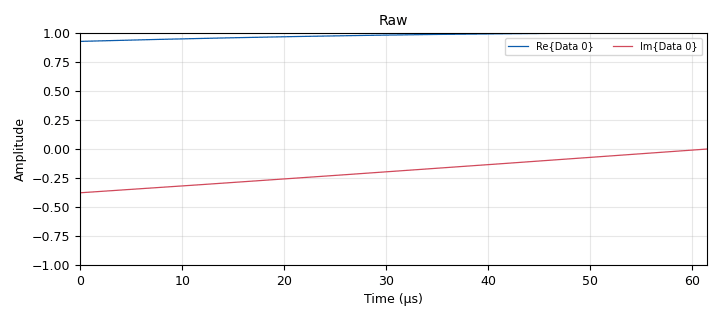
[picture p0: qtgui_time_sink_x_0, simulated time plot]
options:
  parameters:
    generate_options: qt_gui
    id: Itrigger2_virtual
    output_language: python
    title: Trigger Virtual
  states: {}

blocks:
- name: fftsz
  id: variable
  parameters:
    value: '1024'
  states: {}
- name: freq
  id: variable_qtgui_range
  parameters:
    label: Frequency
    start: '0'
    step: '100'
    stop: samp_rate/2
    value: 1e3
  states: {}
- name: movavg_length
  id: variable_qtgui_range
  parameters:
    label: Moving Average Length
    start: '1000'
    step: '1'
    stop: '16383'
    value: '10000'
  states: {}
- name: samp_rate
  id: variable
  parameters:
    value: 200e6/12
  states: {}
- name: analog_sig_source_x_0
  id: analog_sig_source_x
  parameters:
    amp: '1'
    freq: freq
    offset: '0'
    phase: '0'
    samp_rate: samp_rate
    type: complex
    waveform: analog.GR_COS_WAVE
  states: {}
- name: blocks_complex_to_mag_squared_0_0
  id: blocks_complex_to_mag_squared
  parameters:
    vlen: fftsz
  states: {}
- name: blocks_multiply_const_xx_0
  id: blocks_multiply_const_xx
  parameters:
    const: 1/fftsz
    type: complex
    vlen: fftsz
  states: {}
- name: blocks_multiply_xx_0
  id: blocks_multiply_xx
  parameters:
    type: complex
  states: {}
- name: blocks_nlog10_ff_0_0
  id: blocks_nlog10_ff
  parameters:
    k: '0'
    n: '10'
    vlen: fftsz
  states: {}
- name: blocks_stream_to_vector_0
  id: blocks_stream_to_vector
  parameters:
    num_items: fftsz
    type: complex
  states: {}
- name: blocks_throttle_0
  id: blocks_throttle
  parameters:
    samples_per_second: samp_rate
    type: complex
  states: {}
- name: epy_block_0
  id: epy_block
  parameters:
    FFT_size: fftsz
    _source_code: |
      """
      Embedded Python Blocks:

      Each time this file is saved, GRC will instantiate the first class it finds
      to get ports and parameters of your block. The arguments to __init__  will
      be the parameters. All of them are required to have default values!
      """

      import numpy as np
      import math
      from gnuradio import gr
      import pmt


      class blk(gr.sync_block):  # other base classes are basic_block, decim_block, interp_block
          """Embedded Python Block example - a simple multiply const"""

          def __init__(self, FFT_size=1024, sample_rate=25E6, frequency_low=10.9e6,
                      frequency_high=11.1e6):  # only default arguments here
              """arguments to this function show up as parameters in GRC"""
              gr.sync_block.__init__(
                  self,
                  name='Selective FFT Vector Averager',   # will show up in GRC
                  in_sig=[(np.float32,FFT_size)],
                  out_sig=[np.float32]
              )
              # if an attribute with the same name as a parameter is found,
              # a callback is registered (properties work, too).
              self.FFT_size = FFT_size
              self.sample_rate = sample_rate
              self.frequency_low = frequency_low+sample_rate/2
              self.frequency_high = frequency_high+sample_rate/2
              
              # Calculate the bins we are interested in sampling
              self.bin_width = (self.sample_rate)/self.FFT_size
              self.bin_low = math.floor(self.frequency_low/self.bin_width)
              print("bin low: ", self.bin_low)
              self.bin_high = math.ceil(self.frequency_high/self.bin_width)
              print("bin high: ", self.bin_high)
              #print("tesT")
              
              #Message Handling
              self.portName = 'controlOut'
              self.message_port_register_out(pmt.intern(self.portName))
              

          def work(self, input_items, output_items):
              # Loop through all received vectors
              #print("Input fft: ", len(input_items[0]))
              for i in range(len(input_items[0])):
                  #print("bruh")
                  output_items[0][i] = input_items[0][i][self.bin_low:self.bin_high].max()
                  PMT_msg = pmt.from_double(output_items[0][i])
                  self.message_port_pub(pmt.intern(self.portName), PMT_msg)
         
              #print("Output fft: ", len(output_items[0]))
              #print("-----------------------")
              return len(output_items[0])
    frequency_high: 800e3
    frequency_low: 500e3
    sample_rate: samp_rate
  states: {}
- name: epy_block_1
  id: epy_block
  parameters:
    _source_code: |
      """
      Embedded Python Blocks:

      Each time this file is saved, GRC will instantiate the first class it finds
      to get ports and parameters of your block. The arguments to __init__  will
      be the parameters. All of them are required to have default values!
      """

      import numpy as np
      import pmt
      from gnuradio import gr


      class blk(gr.sync_block):  # other base classes are basic_block, decim_block, interp_block
          """Embedded Python Block example - a simple multiply const"""

          def __init__(self, slope=100e3, samp_rate=200e6/12):  # only default arguments here
              """arguments to this function show up as parameters in GRC"""
              gr.sync_block.__init__(
                  self,
                  name='Local Chirp',   # will show up in GRC
                  in_sig=[np.complex64],
                  out_sig=[np.complex64]
              )
              # if an attribute with the same name as a parameter is found,
              # a callback is registered (properties work, too).
              self.slope = slope
              self.fs = samp_rate
              self.sample_count = 0
              
              self.lastT = 0
              self.lastF = 0
              self.dt = 1/self.fs
              self.df = self.slope/self.fs
              
              self.controlPortName = 'controlIn'
              self.message_port_register_in(pmt.intern(self.controlPortName))
              self.set_msg_handler(pmt.intern(self.controlPortName), self.handle_msg)
              
          def handle_msg(self, msg):
              controlIn = pmt.to_double(msg)
              
              if controlIn > self.controlLast+self.trigger_Power:
                  self.control = True
              
              self.controlLast = controlIn
              
          def work(self, input_items, output_items):
              n = len(input_items[0]) 
          
              if self.control:
                  newT = self.dt*n + self.lastT
                  newF = self.df*n + self.lastF
                      
                  t = np.arange(self.lastT, newT+dt, dt)
                  f = np.arange(self.lastF, newF+df, df)
                  
                  for i in range(0, n):
                      output_items[0][i] = np.sin(2*np.pi*f[i]*t[i])
                  
                  self.lastT = newT
                  self.lastF = newF
              
              return len(output_items[0])
    samp_rate: 200e6/12
    slope: 100e3
  states: {}
- name: epy_block_1_0
  id: epy_block
  parameters:
    _source_code: |
      """ Ionosonde Trigger Block
          By Jaden Keener, 2/5/23
          
          Last updated 2/12/23 12:55
          - Added moving average functionality. Now we shouldn't have to manually set
            trigger threshold
          
          This block records the raw SDR output when a strong enough input is 
          provided. This block is meant to be used alongside a filter. The filter 
          should bandpass the trigger frequency, then go to an average power block
          which then feeds into this blocks first input.
          
          Outputs are purely debug.
          
          See __init__ for additional i/o information
      """

      import numpy as np
      import datetime
      from gnuradio import gr
      import pmt

      class blk(gr.sync_block):  

          def __init__(self, trigger_delta_dB=5, samp_rate = 32E3, capture_window = 5): 
              
              """ INPUTS/OUTPUTS:
                      input[0]: Raw Data from SDR
                      
                      output[0]: debug state information
                      output[1]: debug timer information
                      
                      msg[controlPort]: input from custom FFT filter
                  """
              gr.sync_block.__init__(
                  self,
                  name='Ionosonde Trigger 2.0', 
                  in_sig=[np.complex64],
                  out_sig=[np.float32, np.float32]
              )
              
              self.trigger_Power = trigger_delta_dB
              self.samp_rate = samp_rate
              self.capture_window = capture_window
              # timer max is calculated as sample rate * capture window in seconds.
              self.timerMax = self.timer = self.samp_rate * self.capture_window
              self.writing = False
              
              # Message Handling
              self.controlPortName = 'controlIn'
              self.message_port_register_in(pmt.intern(self.controlPortName))
              self.set_msg_handler(pmt.intern(self.controlPortName), self.handle_msg)
             
              self.control = False # default for control
              self.controlLast = 10e3
             
          def handle_msg(self, msg):
              controlIn = pmt.to_double(msg)
              
              if controlIn > self.controlLast+self.trigger_Power:
                  self.control = True
              
              self.controlLast = controlIn
             
             
          def work(self, input_items, output_items):
              
              # Check if we are writing
              if self.writing:
                  # If we are and we still have time on the clock
                  if self.timer < self.timerMax:
                      # Then write data to file
                      self.file.write(input_items[0][:])
                      self.timer += len(input_items[0])
                      output_items[0][:] = 2
                  else:
                      # Otherwise close the file and reset flags
                      self.file.close()
                      self.writing = False
                      self.control = False
                      output_items[0][:] = 0
              
              # If not writing, do we have high power on trigger?
              elif self.control:
                  # Set status variables
                  self.writing = True
                  self.timer = 0
                  output_items[0][:] = 1
                  
                  # Open new file and do first write
                  self.filename = '{date:%Y%m%d_%H%M%S}.chirp'.format(date=datetime.datetime.now())
                  self.file = open(self.filename, "ab")
                  self.file.write(input_items[0][:])
              # Show debug state of none
              else:
                  output_items[0][:] = 0
              
              # For debugging timer
              output_items[1][:] = self.timer
              
              # gnuradio needs this return
              return len(output_items[0])
    capture_window: '5'
    samp_rate: samp_rate
    trigger_delta_dB: '300'
  states: {}
- name: fft_vxx_0
  id: fft_vxx
  parameters:
    fft_size: fftsz
    forward: 'True'
    shift: 'True'
    type: complex
    window: window.blackmanharris(fftsz)
  states: {}
- name: freq_xlating_fft_filter_ccc_0
  id: freq_xlating_fft_filter_ccc
  parameters:
    center_freq: '0'
    decim: '1'
    samp_rate: samp_rate
  states: {}
- name: freq_xlating_fir_filter_xxx_0
  id: freq_xlating_fir_filter_xxx
  parameters:
    center_freq: '0'
    decim: '1'
    samp_rate: samp_rate
    type: ccc
  states: {}
- name: import_0
  id: import
  parameters:
    imports: import math
  states: {}
- name: qtgui_number_sink_1_0
  id: qtgui_number_sink
  parameters:
    graph_type: qtgui.NUM_GRAPH_HORIZ
    max: '3'
    name: '"TrigOut"'
    type: float
  states: {}
- name: qtgui_number_sink_1_0_0
  id: qtgui_number_sink
  parameters:
    autoscale: 'True'
    graph_type: qtgui.NUM_GRAPH_HORIZ
    max: '3'
    name: '"TFFTOut"'
    type: float
  states: {}
- name: qtgui_number_sink_1_1_0
  id: qtgui_number_sink
  parameters:
    graph_type: qtgui.NUM_GRAPH_HORIZ
    max: 200E3
    min: '0'
    name: '"Timer"'
    type: float
  states: {}
- name: qtgui_time_sink_x_0
  id: qtgui_time_sink_x
  parameters:
    name: '"Raw"'
    size: '1024'
    srate: samp_rate
    type: complex
  states: {}
- name: virtual_sink_0
  id: virtual_sink
  parameters:
    stream_id: signal
  states: {}
- name: virtual_source_0_0
  id: virtual_source
  parameters:
    stream_id: signal
  states: {}

connections:
- [analog_sig_source_x_0, '0', blocks_throttle_0, '0']
- [blocks_complex_to_mag_squared_0_0, '0', blocks_nlog10_ff_0_0, '0']
- [blocks_multiply_const_xx_0, '0', blocks_complex_to_mag_squared_0_0, '0']
- [blocks_nlog10_ff_0_0, '0', epy_block_0, '0']
- [blocks_stream_to_vector_0, '0', fft_vxx_0, '0']
- [blocks_throttle_0, '0', blocks_stream_to_vector_0, '0']
- [blocks_throttle_0, '0', qtgui_time_sink_x_0, '0']
- [blocks_throttle_0, '0', virtual_sink_0, '0']
- [epy_block_0, '0', qtgui_number_sink_1_0_0, '0']
- [epy_block_0, controlOut, epy_block_1_0, controlIn]
- [epy_block_1, '0', blocks_multiply_xx_0, '1']
- [epy_block_1_0, '0', qtgui_number_sink_1_0, '0']
- [epy_block_1_0, '1', qtgui_number_sink_1_1_0, '0']
- [fft_vxx_0, '0', blocks_multiply_const_xx_0, '0']
- [virtual_source_0_0, '0', blocks_multiply_xx_0, '0']
- [virtual_source_0_0, '0', epy_block_1, '0']

metadata:
  file_format: 1
  grc_version: 3.10.5.0
